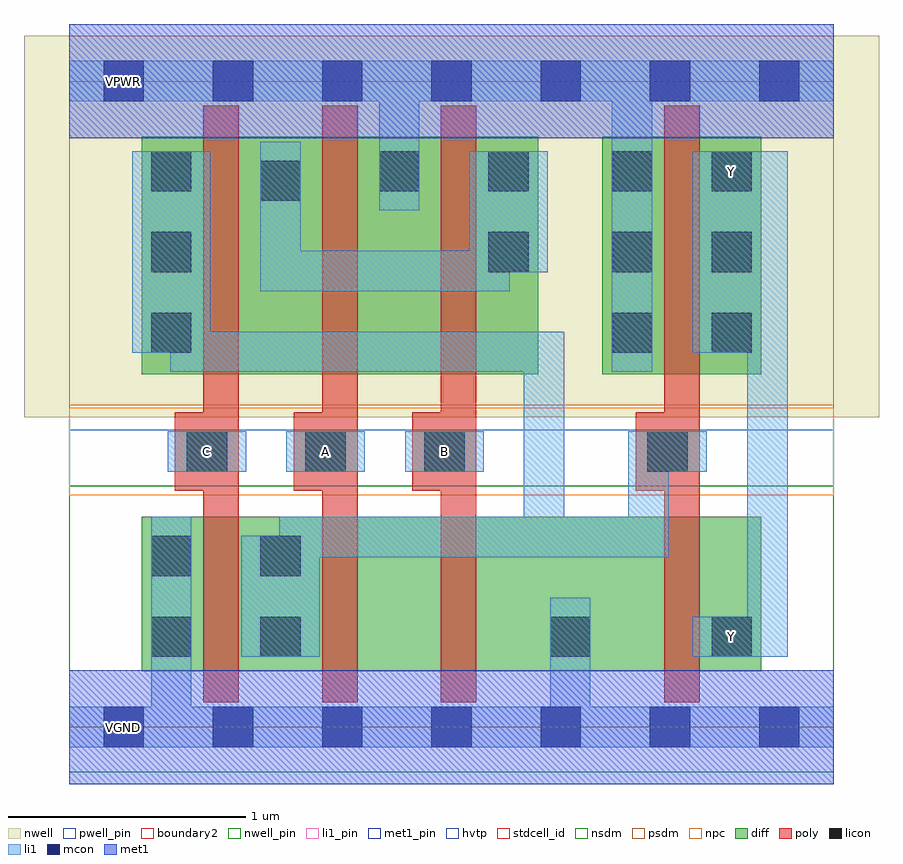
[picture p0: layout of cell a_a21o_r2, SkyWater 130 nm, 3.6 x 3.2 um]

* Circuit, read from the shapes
.subckt a_a21o_r2 A B C VGND VNB VPB VPWR Y
XM1 n1 C VGND VNB sky130_fd_pr__nfet_01v8 w=0.65 l=0.15
XM2 n2 A n1 VNB sky130_fd_pr__nfet_01v8 w=0.65 l=0.15
XM3 VGND B n2 VNB sky130_fd_pr__nfet_01v8 w=0.65 l=0.15
XM4 Y n1 VGND VNB sky130_fd_pr__nfet_01v8 w=0.65 l=0.15
XM5 n3 C n1 VPB sky130_fd_pr__pfet_01v8_hvt w=1 l=0.15
XM6 VPWR A n3 VPB sky130_fd_pr__pfet_01v8_hvt w=1 l=0.15
XM7 n3 B VPWR VPB sky130_fd_pr__pfet_01v8_hvt w=1 l=0.15
XM8 Y n1 VPWR VPB sky130_fd_pr__pfet_01v8_hvt w=1 l=0.15
.ends

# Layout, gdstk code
import gdstk
lib = gdstk.Library(unit=1e-6, precision=1e-09)
def R(c, l, rs):  # rectangles x0, y0, x1, y1
    for r in rs: c.add(gdstk.rectangle(r[:2], r[2:], *l))
def A(c, l, x, y, w, h, nx, ny, dx, dy):  # array of equal rectangles
    R(c, l, [(x+i*dx, y+j*dy, x+i*dx+w, y+j*dy+h) for i in range(nx) for j in range(ny)])
nwell_pin = (64, 16)
nwell = (64, 20)
diff = (65, 20)
poly = (66, 20)
licon = (66, 44)
li1_pin = (67, 16)
li1 = (67, 20)
mcon = (67, 44)
met1_pin = (68, 16)
met1 = (68, 20)
hvtp = (78, 44)
stdcell_id = (81, 4)
nsdm = (93, 44)
psdm = (94, 20)
npc = (95, 20)
pwell_pin = (122, 16)
boundary2 = (236, 0)

a_a21o_r2 = lib.new_cell('a_a21o_r2')
R(a_a21o_r2, nwell_pin, [(0.145,2.635,0.315,2.805)])
R(a_a21o_r2, nwell, [(-0.19,1.305,3.41,2.91)])
R(a_a21o_r2, diff, [(0.305,0.235,0.89,0.885), (0.89,0.235,1.39,0.885), (1.39,0.235,2.11,0.885), (2.11,0.235,2.915,0.885), (0.305,1.485,0.89,2.485), (0.89,1.485,1.39,2.485), (1.39,1.485,1.975,2.485), (2.245,1.485,2.915,2.485)])
A(a_a21o_r2, poly, 0.565, 0.105, 0.15, 2.51, 3, 1, 0.5, 0)
A(a_a21o_r2, poly, 0.445, 0.995, 0.27, 0.33, 3, 1, 0.5, 0)
R(a_a21o_r2, poly, [(2.505,0.105,2.655,2.615), (2.385,0.995,2.655,1.325)])
A(a_a21o_r2, licon, 0.495, 1.075, 0.17, 0.17, 3, 1, 0.5, 0)
A(a_a21o_r2, licon, 0.345, 1.575, 0.17, 0.17, 1, 3, 0, 0.34)
A(a_a21o_r2, licon, 2.285, 1.575, 0.17, 0.17, 1, 3, 0, 0.34)
A(a_a21o_r2, licon, 2.705, 1.575, 0.17, 0.17, 1, 3, 0, 0.34)
R(a_a21o_r2, licon, [(0.345,0.295,0.515,0.465), (0.805,0.295,0.975,0.465), (2.025,0.295,2.195,0.465), (2.705,0.295,2.875,0.465), (0.345,0.635,0.515,0.805), (0.805,0.635,0.975,0.805), (2.435,1.075,2.605,1.245), (1.765,1.915,1.935,2.085), (0.805,2.215,0.975,2.385), (1.305,2.255,1.475,2.425), (1.765,2.255,1.935,2.425)])
A(a_a21o_r2, li1_pin, 0.495, 1.075, 0.17, 0.17, 3, 1, 0.5, 0)
R(a_a21o_r2, li1_pin, [(2.705,0.295,2.875,0.465), (2.705,2.255,2.875,2.425)])
A(a_a21o_r2, li1, 0.415, 1.075, 0.33, 0.17, 3, 1, 0.5, 0)
R(a_a21o_r2, li1, [(0,-0.085,3.22,0.085), (0.345,-0.085,0.515,0.545), (2.025,-0.085,2.195,0.545), (0.345,0.295,0.515,0.885), (0.725,0.295,1.055,0.465), (0.725,0.295,1.055,0.805), (0.885,0.295,1.055,0.885), (2.625,0.295,2.955,0.465), (2.785,0.295,3.025,0.465), (2.855,0.295,3.025,2.425), (0.885,0.715,2.525,0.885), (1.915,0.715,2.085,1.665), (2.355,0.715,2.525,1.245), (2.355,1.075,2.685,1.245), (0.425,1.495,2.085,1.665), (0.425,1.495,0.595,2.425), (2.285,1.495,2.455,2.085), (0.265,1.575,0.595,2.085), (2.625,1.575,2.955,2.085), (0.805,1.835,0.975,2.305), (0.805,1.835,1.855,2.005), (1.685,1.835,1.855,2.425), (2.285,1.835,2.455,2.425), (0.265,1.915,0.595,2.425), (1.685,1.915,2.015,2.425), (2.625,1.915,2.955,2.425), (0.805,2.005,0.975,2.135), (0.805,2.005,0.975,2.135), (0.805,2.005,0.975,2.135), (0.805,2.005,0.975,2.135), (2.285,2.085,2.455,2.175), (2.285,2.085,2.455,2.175), (2.285,2.085,2.455,2.175), (2.285,2.085,2.455,2.175), (0.805,2.135,0.975,2.465), (1.305,2.175,1.475,2.805), (2.285,2.175,2.455,2.805), (0.265,2.255,0.595,2.425), (1.685,2.255,2.015,2.425), (2.625,2.255,2.955,2.425), (2.785,2.255,3.025,2.425), (0,2.635,3.22,2.805)])
A(a_a21o_r2, mcon, 0.145, -0.085, 0.17, 0.17, 7, 2, 0.46, 2.72)
R(a_a21o_r2, met1_pin, [(0.145,-0.085,0.315,0.085), (0.145,2.635,0.315,2.805)])
R(a_a21o_r2, met1, [(0,-0.24,3.22,0.24), (0,2.48,3.22,2.96)])
R(a_a21o_r2, hvtp, [(0,1.25,3.22,2.72)])
R(a_a21o_r2, stdcell_id, [(0,0,3.22,2.72)])
R(a_a21o_r2, nsdm, [(0,-0.19,3.22,1.015)])
R(a_a21o_r2, psdm, [(0,1.355,3.22,2.91)])
R(a_a21o_r2, npc, [(0,0.975,3.22,1.345)])
R(a_a21o_r2, pwell_pin, [(0.145,-0.085,0.315,0.085)])
R(a_a21o_r2, boundary2, [(0,0,3.22,2.72)])
a_a21o_r2.add(gdstk.Label('A', (1.08,1.16), layer=67, texttype=5))
a_a21o_r2.add(gdstk.Label('B', (1.58,1.16), layer=67, texttype=5))
a_a21o_r2.add(gdstk.Label('C', (0.58,1.16), layer=67, texttype=5))
a_a21o_r2.add(gdstk.Label('Y', (2.79,0.38), layer=67, texttype=5))
a_a21o_r2.add(gdstk.Label('Y', (2.79,2.34), layer=67, texttype=5))
a_a21o_r2.add(gdstk.Label('VGND', (0.23,0), layer=68, texttype=5))
a_a21o_r2.add(gdstk.Label('VPWR', (0.23,2.72), layer=68, texttype=5))
a_a21o_r2.add(gdstk.Label('VPB', (0.23,2.72), layer=64, texttype=5))
a_a21o_r2.add(gdstk.Label('VNB', (0.23,0), layer=64, texttype=59))

lib.write_gds('a_a21o_r2.gds')
